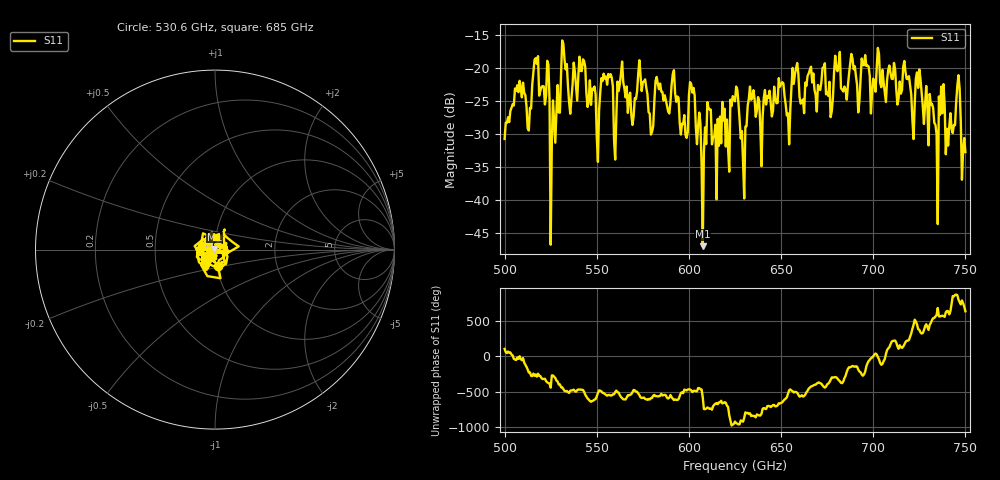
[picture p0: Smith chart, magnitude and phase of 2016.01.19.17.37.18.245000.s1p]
!Created with skrf (http://scikit-rf.org).
# GHz S RI R 50.0
!freq ReS11 ImS11
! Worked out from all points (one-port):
!   401 points, 500 GHz to 750 GHz, reference 50 ohm
!   lowest |S11| = -46.9 dB at 607.5 GHz (marker M1), VSWR 1.01, Z = 49.7 + j0.288 ohm
!   |S11| at or under -10 dB: start of sweep to end of sweep
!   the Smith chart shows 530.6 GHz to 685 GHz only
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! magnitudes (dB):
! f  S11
! 500 GHz  -30.7
! 506.9 GHz  -22.6
! 513.1 GHz  -29.4
! 516.9 GHz  -18.5
! 523.1 GHz  -18.9
! 526.2 GHz  -24.9
! 531.2 GHz  -15.8
! 550.6 GHz  -34.2
! 553.8 GHz  -20.8
! 560.6 GHz  -27.2
! 562.5 GHz  -22.4
! 579.4 GHz  -30.0
! 583.1 GHz  -22.3
! 593.8 GHz  -24.3
! 598.1 GHz  -30.1
! 601.9 GHz  -23.7
! 607.5 GHz  -46.9
! 610.6 GHz  -26.0
! 620.6 GHz  -27.8
! 625 GHz  -25.0
! 629.4 GHz  -34.2
! 633.8 GHz  -24.8
! 656.2 GHz  -19.9
! 687.5 GHz  -19.3
! 718.8 GHz  -21.6
! 733.8 GHz  -28.6
! 746.2 GHz  -21.0
! 750 GHz  -32.7
